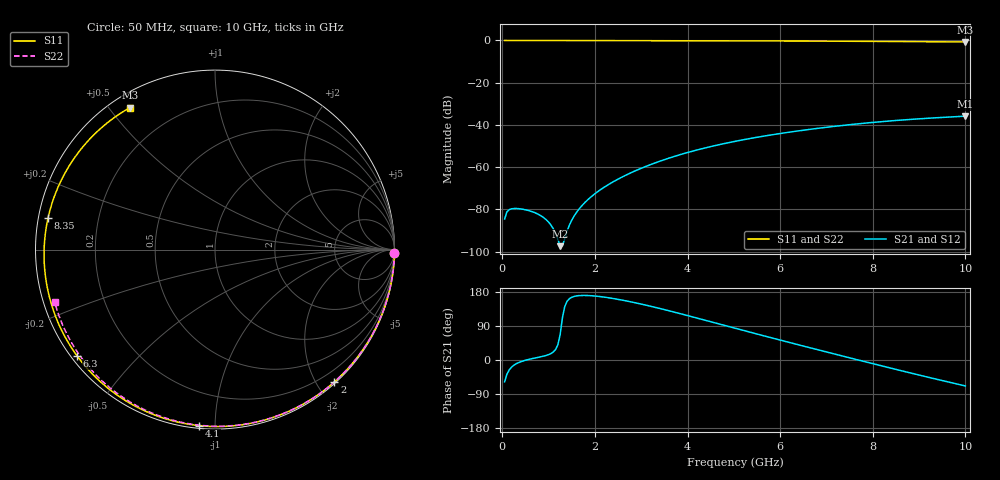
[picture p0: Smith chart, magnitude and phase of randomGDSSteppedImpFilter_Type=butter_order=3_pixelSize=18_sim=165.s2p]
! freq	dB(S11)	phase(S11)	dB(S12)	phase(S12)
!  dB(S21)	phase(S21)	dB(S22)	phase(S22)
!S-par simulation data
#  GHz  S  DB  R 50
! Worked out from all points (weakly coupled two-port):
!   200 points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, 50 MHz to 10 GHz, reference 50 ohm
!   highest |S21| = -35.88 dB at 10 GHz (marker M1); lowest = -97.5 dB at 1.25 GHz (marker M2)
!   lowest |S11| = -0.7 dB at 10 GHz (marker M3), VSWR 24.62, Z = 2.68 + j28.3 ohm
!   |S11| at or under -10 dB: nowhere
!   |S22| runs from -0.5 to 0.0 dB; largest |S21 - S12| = 0
!   S11 on the Smith chart (normalised r, x): 50 MHz: 0, -94; 2 GHz: 0.02, -2.25; 4.1 GHz: 0.01, -0.92; 6.3 GHz: 0.02, -0.34; 8.35 GHz: 0.03, +0.09; 10 GHz: 0.05, +0.57
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0.05  -0.00 -1.2  -84.60 -57.7  -84.60 -57.7  -0.00 -0.9
0.3  -0.00 -7.3  -79.63 -10.0  -79.63 -10.0  -0.00 -5.6
0.65  -0.01 -15.9  -81.16 3.8  -81.16 3.8  -0.01 -12.1
1.25  -0.04 -30.3  -97.47 67.5  -97.47 67.5  -0.03 -23.2
1.65  -0.05 -39.7  -80.08 169.8  -80.08 169.8  -0.04 -30.5
1.75  -0.05 -42.1  -77.54 170.4  -77.54 170.4  -0.04 -32.3
2  -0.06 -47.9  -72.63 168.9  -72.63 168.9  -0.05 -36.8
2.25  -0.07 -53.7  -68.84 165.1  -68.84 165.1  -0.05 -41.3
2.6  -0.08 -61.7  -64.56 157.8  -64.56 157.8  -0.06 -47.4
3  -0.09 -70.8  -60.57 147.6  -60.57 147.6  -0.07 -54.4
3.4  -0.11 -79.7  -57.22 136.0  -57.22 136.0  -0.08 -61.2
4.1  -0.13 -95.0  -52.50 114.0  -52.50 114.0  -0.10 -72.9
5.05  -0.18 -115.5  -47.70 83.1  -47.70 83.1  -0.14 -88.2
5.65  -0.22 -128.4  -45.32 63.7  -45.32 63.7  -0.16 -97.5
6.3  -0.26 -142.4  -43.13 43.1  -43.13 43.1  -0.20 -107.3
6.7  -0.30 -151.3  -41.95 30.6  -41.95 30.6  -0.22 -113.3
7.55  -0.39 -170.9  -39.79 4.2  -39.79 4.2  -0.28 -125.8
8.35  -0.47 169.2  -38.18 -20.3  -38.18 -20.3  -0.35 -137.4
8.8  -0.53 157.2  -37.43 -33.8  -37.43 -33.8  -0.40 -144.0
9.2  -0.59 145.8  -36.85 -45.6  -36.85 -45.6  -0.44 -149.9
9.6  -0.65 133.7  -36.34 -57.2  -36.34 -57.2  -0.49 -155.8
10  -0.71 120.9  -35.88 -68.5  -35.88 -68.5  -0.54 -161.8
